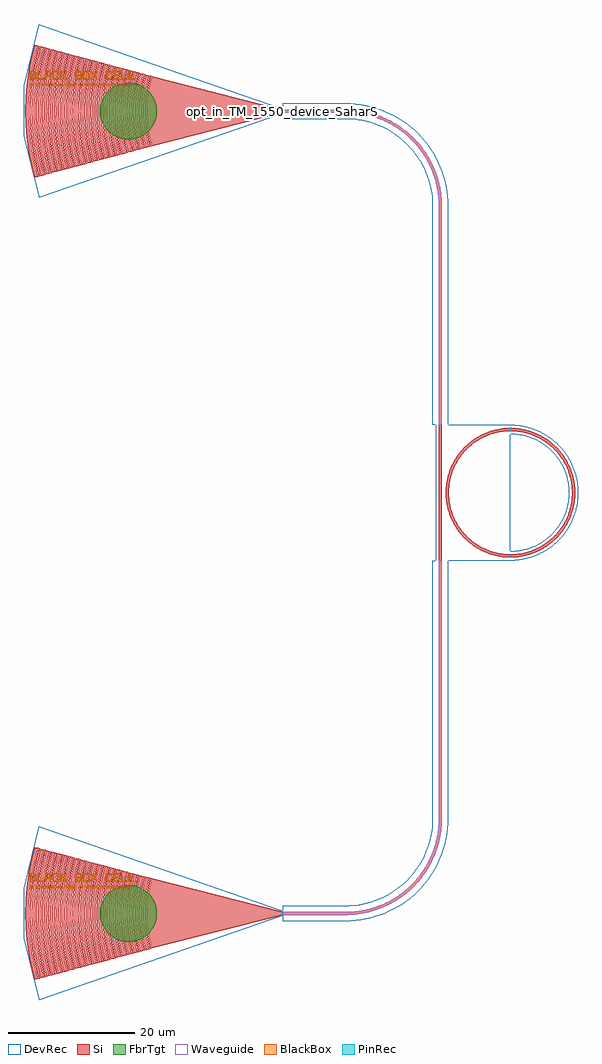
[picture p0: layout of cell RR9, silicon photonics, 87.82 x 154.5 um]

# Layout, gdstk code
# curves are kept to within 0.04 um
from math import pi, radians
import gdstk
lib = gdstk.Library(unit=1e-6, precision=1e-09)
def R(c, l, rs):  # rectangles x0, y0, x1, y1
    for r in rs: c.add(gdstk.rectangle(r[:2], r[2:], *l))
def P(c, l, *ps):  # polygons
    for p in ps: c.add(gdstk.Polygon(p, *l))
Si = (1, 0)
PinRec = (1, 10)
Waveguide = (1, 99)
DevRec = (68, 0)
FbrTgt = (81, 0)
BlackBox = (998, 0)

tm1550_subgc_10degree_ox = lib.new_cell('TM1550_SubGC_10degree_oxide')
P(tm1550_subgc_10degree_ox, Si, [(-20.951,-5.614),(-21.312,-4.239),(-21.572,-2.84),(-21.733,-1.367),(-21.781,-0.057),(-21.733,1.367),(-21.572,2.84),(-21.312,4.239),(-20.951,5.614),(-20.815,5.577),(-21.015,4.871),(-21.223,3.991),(-21.371,3.213),(-21.508,2.261),(-21.611,1.076),(-21.641,0.057),(-21.611,-1.076),(-21.508,-2.261),(-21.371,-3.213),(-21.223,-3.991),(-21.015,-4.871),(-20.815,-5.577)],
  [(-21.624,-5.794),(-22.009,-4.318),(-22.255,-2.989),(-22.416,-1.587),(-22.478,-0.177),(-22.437,1.294),(-22.272,2.873),(-22.009,4.318),(-21.624,5.794),(-21.069,5.645),(-21.621,3.308),(-21.882,0.917),(-21.887,-0.803),(-21.748,-2.459),(-21.481,-4.039),(-21.069,-5.645)],
  [(-21.878,-5.862),(-22.116,-5.004),(-22.279,-4.31),(-22.524,-2.965),(-22.622,-2.198),(-22.691,-1.428),(-22.741,-0.06),(-22.691,1.428),(-22.622,2.198),(-22.524,2.965),(-22.279,4.31),(-22.116,5.004),(-21.878,5.862),(-21.743,5.826),(-21.95,5.088),(-22.154,4.226),(-22.32,3.356),(-22.441,2.537),(-22.563,1.242),(-22.601,0.059),(-22.563,-1.242),(-22.441,-2.537),(-22.32,-3.356),(-22.154,-4.226),(-21.95,-5.088),(-21.743,-5.826)],
  [(-22.552,-6.043),(-22.911,-4.682),(-23.188,-3.238),(-23.378,-1.594),(-23.438,-0.184),(-23.387,1.471),(-23.233,2.935),(-22.951,4.503),(-22.552,6.043),(-21.996,5.894),(-22.56,3.513),(-22.744,2.21),(-22.844,0.898),(-22.849,-0.778),(-22.702,-2.566),(-22.412,-4.275),(-21.996,-5.894)],
  [(-22.805,-6.111),(-23.168,-4.735),(-23.309,-4.068),(-23.457,-3.213),(-23.542,-2.599),(-23.64,-1.612),(-23.686,-0.806),(-23.701,-0.062),(-23.686,0.806),(-23.649,1.488),(-23.493,2.968),(-23.366,3.763),(-23.195,4.614),(-23.006,5.396),(-22.805,6.111),(-22.67,6.074),(-22.885,5.304),(-23.11,4.346),(-23.28,3.438),(-23.395,2.645),(-23.525,1.233),(-23.561,0.062),(-23.525,-1.233),(-23.395,-2.645),(-23.28,-3.438),(-23.11,-4.346),(-22.885,-5.304),(-22.67,-6.074)],
  [(-23.479,-6.291),(-23.893,-4.688),(-24.167,-3.182),(-24.336,-1.659),(-24.398,-0.128),(-24.345,1.532),(-24.167,3.182),(-23.893,4.688),(-23.479,6.291),(-22.923,6.142),(-23.26,4.88),(-23.519,3.599),(-23.706,2.241),(-23.806,0.873),(-23.806,-0.873),(-23.656,-2.674),(-23.368,-4.394),(-22.923,-6.142)],
  [(-23.732,-6.359),(-24.094,-4.99),(-24.266,-4.17),(-24.418,-3.28),(-24.526,-2.448),(-24.598,-1.677),(-24.64,-0.968),(-24.661,-0.065),(-24.645,0.839),(-24.598,1.677),(-24.526,2.448),(-24.418,3.28),(-24.302,3.98),(-24.094,4.99),(-23.732,6.359),(-23.597,6.323),(-23.852,5.397),(-24.04,4.586),(-24.219,3.641),(-24.357,2.689),(-24.484,1.283),(-24.521,0.064),(-24.484,-1.283),(-24.357,-2.689),(-24.219,-3.641),(-24.04,-4.586),(-23.852,-5.397),(-23.597,-6.323)],
  [(-24.406,-6.54),(-24.821,-4.937),(-25.119,-3.307),(-25.308,-1.526),(-25.358,-0.133),(-25.308,1.526),(-25.119,3.307),(-24.821,4.937),(-24.406,6.54),(-23.851,6.391),(-24.214,5.014),(-24.468,3.744),(-24.655,2.396),(-24.765,0.908),(-24.765,-0.908),(-24.61,-2.782),(-24.298,-4.635),(-23.851,-6.391)],
  [(-24.66,-6.608),(-25.064,-5.054),(-25.213,-4.332),(-25.379,-3.341),(-25.481,-2.543),(-25.57,-1.542),(-25.621,-0.067),(-25.57,1.542),(-25.481,2.543),(-25.379,3.341),(-25.213,4.332),(-25.064,5.054),(-24.66,6.608),(-24.525,6.571),(-24.772,5.674),(-24.997,4.701),(-25.19,3.652),(-25.303,2.861),(-25.43,1.533),(-25.481,0.067),(-25.43,-1.533),(-25.303,-2.861),(-25.19,-3.652),(-24.997,-4.701),(-24.772,-5.674),(-24.525,-6.571)],
  [(-25.333,-6.788),(-25.702,-5.393),(-26.04,-3.636),(-26.246,-1.858),(-26.318,-0.138),(-26.266,1.583),(-26.09,3.296),(-25.777,5.057),(-25.333,6.788),(-24.778,6.639),(-25.139,5.275),(-25.439,3.756),(-25.631,2.287),(-25.727,0.876),(-25.727,-0.876),(-25.572,-2.823),(-25.241,-4.815),(-24.778,-6.639)],
  [(-25.587,-6.856),(-25.81,-6.054),(-26.02,-5.176),(-26.172,-4.427),(-26.321,-3.535),(-26.421,-2.777),(-26.508,-1.877),(-26.564,-0.904),(-26.581,-0.07),(-26.569,0.765),(-26.528,1.599),(-26.444,2.57),(-26.341,3.398),(-26.197,4.29),(-26.02,5.176),(-25.81,6.054),(-25.587,6.856),(-25.452,6.82),(-25.708,5.888),(-25.926,4.946),(-26.129,3.858),(-26.257,2.968),(-26.393,1.522),(-26.441,0.069),(-26.393,-1.522),(-26.257,-2.968),(-26.129,-3.858),(-25.926,-4.946),(-25.708,-5.888),(-25.452,-6.82)],
  [(-26.261,-7.037),(-26.704,-5.312),(-27.012,-3.628),(-27.204,-1.926),(-27.278,-0.143),(-27.229,1.57),(-27.052,3.346),(-26.704,5.312),(-26.261,7.037),(-25.705,6.888),(-26.063,5.54),(-26.366,4.034),(-26.566,2.581),(-26.684,0.978),(-26.678,-1.118),(-26.509,-3.067),(-26.184,-4.995),(-25.705,-6.888)],
  [(-26.514,-7.104),(-26.744,-6.273),(-26.946,-5.433),(-27.157,-4.374),(-27.293,-3.52),(-27.471,-1.873),(-27.521,-1.009),(-27.541,-0.072),(-27.491,1.585),(-27.407,2.591),(-27.293,3.52),(-27.157,4.374),(-26.946,5.433),(-26.744,6.273),(-26.514,7.104),(-26.379,7.068),(-26.626,6.172),(-26.869,5.126),(-27.067,4.069),(-27.202,3.147),(-27.351,1.577),(-27.401,0.072),(-27.36,-1.434),(-27.289,-2.363),(-27.202,-3.147),(-27.067,-4.069),(-26.869,-5.126),(-26.626,-6.172),(-26.379,-7.068)],
  [(-27.188,-7.285),(-27.661,-5.427),(-27.974,-3.683),(-28.167,-1.92),(-28.238,-0.148),(-28.192,1.551),(-27.995,3.537),(-27.661,5.427),(-27.188,7.285),(-26.633,7.136),(-27.002,5.739),(-27.315,4.18),(-27.529,2.602),(-27.646,0.941),(-27.637,-1.158),(-27.444,-3.321),(-27.127,-5.175),(-26.633,-7.136)],
  [(-27.442,-7.353),(-27.871,-5.696),(-28.065,-4.747),(-28.213,-3.865),(-28.347,-2.829),(-28.429,-1.938),(-28.483,-0.97),(-28.501,-0.075),(-28.483,0.97),(-28.429,1.938),(-28.355,2.755),(-28.245,3.643),(-28.065,4.747),(-27.903,5.55),(-27.716,6.348),(-27.442,7.353),(-27.306,7.317),(-27.543,6.46),(-27.797,5.378),(-27.992,4.358),(-28.146,3.331),(-28.305,1.706),(-28.361,0.074),(-28.346,-0.891),(-28.305,-1.706),(-28.146,-3.331),(-27.992,-4.358),(-27.797,-5.378),(-27.543,-6.46),(-27.306,-7.317)],
  [(-28.115,-7.533),(-28.587,-5.686),(-28.904,-3.959),(-29.125,-1.986),(-29.198,-0.153),(-29.141,1.757),(-28.937,3.733),(-28.587,5.686),(-28.115,7.533),(-27.56,7.385),(-27.991,5.72),(-28.3,4.103),(-28.507,2.469),(-28.608,0.899),(-28.596,-1.199),(-28.416,-3.288),(-28.07,-5.355),(-27.56,-7.385)],
  [(-28.369,-7.601),(-28.633,-6.637),(-28.828,-5.813),(-28.997,-4.983),(-29.164,-3.995),(-29.285,-3.078),(-29.381,-2.08),(-29.433,-1.234),(-29.461,-0.077),(-29.45,0.771),(-29.403,1.773),(-29.334,2.618),(-29.208,3.69),(-29.079,4.528),(-28.877,5.587),(-28.633,6.637),(-28.369,7.601),(-28.234,7.565),(-28.515,6.531),(-28.755,5.485),(-28.953,4.43),(-29.109,3.368),(-29.268,1.688),(-29.321,0.077),(-29.308,-0.844),(-29.268,-1.688),(-29.128,-3.216),(-28.978,-4.279),(-28.786,-5.335),(-28.552,-6.382),(-28.234,-7.565)],
  [(-29.043,-7.782),(-29.545,-5.796),(-29.878,-3.933),(-30.094,-1.893),(-30.158,-0.158),(-30.094,1.893),(-29.9,3.777),(-29.545,5.796),(-29.043,7.782),(-28.487,7.633),(-28.948,5.837),(-29.25,4.241),(-29.456,2.629),(-29.565,1.007),(-29.562,-1.084),(-29.37,-3.398),(-29.013,-5.534),(-28.487,-7.633)],
  [(-29.296,-7.85),(-29.568,-6.853),(-29.803,-5.847),(-30.014,-4.754),(-30.138,-3.968),(-30.266,-2.941),(-30.356,-1.91),(-30.402,-1.035),(-30.421,-0.08),(-30.402,1.035),(-30.356,1.91),(-30.266,2.941),(-30.138,3.968),(-30.014,4.754),(-29.803,5.847),(-29.568,6.853),(-29.296,7.85),(-29.161,7.814),(-29.451,6.745),(-29.73,5.51),(-29.928,4.419),(-30.082,3.321),(-30.236,1.585),(-30.281,0.079),(-30.236,-1.585),(-30.082,-3.321),(-29.928,-4.419),(-29.73,-5.51),(-29.451,-6.745),(-29.161,-7.814)],
  [(-29.97,-8.03),(-30.453,-6.14),(-30.818,-4.139),(-31.028,-2.279),(-31.118,-0.163),(-31.052,1.954),(-30.841,3.978),(-30.47,6.061),(-29.97,8.03),(-29.415,7.882),(-29.872,6.105),(-30.248,4.063),(-30.448,2.316),(-30.543,0.16),(-30.478,-1.917),(-30.248,-4.063),(-29.872,-6.105),(-29.415,-7.882)],
  [(-30.223,-8.098),(-30.483,-7.15),(-30.745,-6.032),(-30.934,-5.066),(-31.09,-4.093),(-31.23,-2.952),(-31.314,-1.97),(-31.367,-0.904),(-31.381,-0.082),(-31.367,0.904),(-31.314,1.97),(-31.23,2.952),(-31.09,4.093),(-30.934,5.066),(-30.745,6.032),(-30.483,7.15),(-30.223,8.098),(-30.088,8.062),(-30.367,7.039),(-30.641,5.845),(-30.824,4.882),(-31.006,3.67),(-31.107,2.776),(-31.185,1.798),(-31.241,0.082),(-31.227,-0.9),(-31.185,-1.798),(-31.107,-2.776),(-31.006,-3.67),(-30.824,-4.882),(-30.641,-5.845),(-30.367,-7.039),(-30.088,-8.062)],
  [(-30.897,-8.279),(-31.394,-6.33),(-31.757,-4.35),(-31.992,-2.265),(-32.078,-0.168),(-32.01,2.014),(-31.793,4.101),(-31.394,6.33),(-30.897,8.279),(-30.342,8.13),(-30.865,6.055),(-31.223,4.027),(-31.436,1.978),(-31.503,0.165),(-31.436,-1.978),(-31.223,-4.027),(-30.865,-6.055),(-30.342,-8.13)],
  [(-31.151,-8.347),(-31.375,-7.533),(-31.633,-6.465),(-31.836,-5.47),(-32.017,-4.386),(-32.168,-3.211),(-32.26,-2.199),(-32.321,-1.1),(-32.341,-0.085),(-32.324,1.016),(-32.272,2.03),(-32.177,3.127),(-32.065,4.051),(-31.896,5.137),(-31.687,6.217),(-31.459,7.205),(-31.151,8.347),(-31.016,8.311),(-31.302,7.255),(-31.584,6.025),(-31.8,4.866),(-31.97,3.699),(-32.138,1.937),(-32.184,1.011),(-32.201,0.084),(-32.184,-1.011),(-32.138,-1.937),(-31.97,-3.699),(-31.8,-4.866),(-31.584,-6.025),(-31.302,-7.255),(-31.016,-8.311)],
  [(-31.824,-8.527),(-32.335,-6.52),(-32.721,-4.395),(-32.956,-2.247),(-33.038,-0.173),(-32.974,1.988),(-32.757,4.138),(-32.371,6.351),(-31.824,8.527),(-31.269,8.379),(-31.753,6.489),(-32.151,4.318),(-32.376,2.292),(-32.463,0.17),(-32.4,-1.953),(-32.175,-4.15),(-31.807,-6.24),(-31.269,-8.379)],
  [(-32.078,-8.595),(-32.331,-7.672),(-32.592,-6.572),(-32.782,-5.633),(-32.981,-4.43),(-33.123,-3.306),(-33.218,-2.265),(-33.277,-1.22),(-33.301,-0.087),(-33.277,1.22),(-33.218,2.265),(-33.123,3.306),(-32.981,4.43),(-32.782,5.633),(-32.592,6.572),(-32.331,7.672),(-32.078,8.595),(-31.943,8.559),(-32.279,7.304),(-32.527,6.205),(-32.749,5.011),(-32.934,3.723),(-33.043,2.688),(-33.107,1.822),(-33.161,0.087),(-33.149,-0.868),(-33.107,-1.822),(-33.043,-2.688),(-32.934,-3.723),(-32.749,-5.011),(-32.527,-6.205),(-32.279,-7.304),(-31.943,-8.559)],
  [(-32.752,-8.776),(-33.295,-6.623),(-33.685,-4.435),(-33.907,-2.401),(-33.998,-0.178),(-33.92,2.223),(-33.685,4.435),(-33.295,6.623),(-32.752,8.776),(-32.196,8.627),(-32.731,6.511),(-33.115,4.36),(-33.34,2.273),(-33.423,0.175),(-33.358,-2.011),(-33.115,-4.36),(-32.731,-6.511),(-32.196,-8.627)],
  [(-33.005,-8.844),(-33.309,-7.721),(-33.571,-6.586),(-33.776,-5.531),(-33.945,-4.469),(-34.088,-3.312),(-34.182,-2.24),(-34.243,-1.076),(-34.261,-0.09),(-34.243,1.076),(-34.182,2.24),(-34.088,3.312),(-33.945,4.469),(-33.776,5.531),(-33.571,6.586),(-33.309,7.721),(-33.005,8.844),(-32.87,8.808),(-33.194,7.602),(-33.452,6.472),(-33.698,5.156),(-33.866,4.008),(-33.984,2.943),(-34.06,1.964),(-34.106,0.982),(-34.121,0.089),(-34.106,-0.982),(-34.06,-1.964),(-33.984,-2.943),(-33.866,-4.008),(-33.698,-5.156),(-33.452,-6.472),(-33.194,-7.602),(-32.87,-8.808)],
  [(-33.679,-9.024),(-34.217,-6.899),(-34.624,-4.651),(-34.878,-2.286),(-34.958,-0.183),(-34.896,2.012),(-34.662,4.379),(-34.255,6.721),(-33.679,9.024),(-33.124,8.875),(-33.653,6.786),(-34.054,4.574),(-34.291,2.428),(-34.383,0.18),(-34.322,-1.979),(-34.079,-4.396),(-33.691,-6.61),(-33.124,-8.875)],
  [(-33.933,-9.092),(-34.199,-8.116),(-34.494,-6.861),(-34.691,-5.867),(-34.884,-4.685),(-35.053,-3.313),(-35.14,-2.303),(-35.199,-1.198),(-35.221,-0.092),(-35.199,1.198),(-35.14,2.303),(-35.053,3.313),(-34.91,4.503),(-34.755,5.505),(-34.494,6.861),(-34.199,8.116),(-33.933,9.092),(-33.797,9.056),(-34.13,7.817),(-34.413,6.565),(-34.647,5.302),(-34.831,4.03),(-34.957,2.843),(-35.024,1.927),(-35.081,0.092),(-35.068,-0.918),(-35.024,-1.927),(-34.957,-2.843),(-34.831,-4.03),(-34.647,-5.302),(-34.413,-6.565),(-34.13,-7.817),(-33.797,-9.056)],
  [(-34.606,-9.273),(-35.178,-6.997),(-35.575,-4.778),(-35.836,-2.349),(-35.918,-0.188),(-35.86,1.973),(-35.627,4.406),(-35.178,6.997),(-34.606,9.273),(-34.051,9.124),(-34.614,6.885),(-34.992,4.793),(-35.234,2.68),(-35.343,0.185),(-35.286,-1.942),(-35.044,-4.427),(-34.614,-6.885),(-34.051,-9.124)],
  [(-34.86,-9.341),(-35.202,-8.062),(-35.455,-6.956),(-35.687,-5.748),(-35.849,-4.72),(-35.999,-3.498),(-36.098,-2.366),(-36.162,-1.136),(-36.181,-0.095),(-36.162,1.136),(-36.098,2.366),(-35.999,3.498),(-35.849,4.72),(-35.687,5.748),(-35.455,6.956),(-35.202,8.062),(-34.86,9.341),(-34.725,9.304),(-35.043,8.122),(-35.337,6.837),(-35.596,5.447),(-35.773,4.234),(-35.888,3.203),(-35.971,2.169),(-36.022,1.132),(-36.041,0.094),(-36.028,-0.943),(-35.977,-2.074),(-35.888,-3.203),(-35.773,-4.234),(-35.596,-5.447),(-35.337,-6.837),(-35.043,-8.122),(-34.725,-9.304)],
  [(-35.534,-9.521),(-36.099,-7.279),(-36.513,-5.002),(-36.78,-2.604),(-36.878,-0.193),(-36.807,2.219),(-36.567,4.619),(-36.159,6.996),(-35.534,9.521),(-34.978,9.372),(-35.575,6.98),(-35.957,4.83),(-36.199,2.658),(-36.303,0.19),(-36.22,-2.374),(-35.957,-4.83),(-35.575,-6.98),(-34.978,-9.372)],
  [(-35.787,-9.589),(-36.091,-8.465),(-36.377,-7.236),(-36.584,-6.188),(-36.787,-4.941),(-36.923,-3.881),(-37.049,-2.526),(-37.118,-1.264),(-37.141,-0.097),(-37.118,1.264),(-37.056,2.429),(-36.944,3.687),(-36.814,4.749),(-36.635,5.901),(-36.377,7.236),(-36.091,8.465),(-35.787,9.589),(-35.652,9.553),(-35.978,8.339),(-36.299,6.924),(-36.545,5.592),(-36.714,4.443),(-36.825,3.481),(-36.923,2.323),(-36.978,1.259),(-37.001,0.097),(-36.978,-1.259),(-36.923,-2.323),(-36.825,-3.481),(-36.714,-4.443),(-36.545,-5.592),(-36.299,-6.924),(-35.978,-8.339),(-35.652,-9.553)],
  [(-36.461,-9.77),(-37.061,-7.372),(-37.464,-5.132),(-37.73,-2.771),(-37.838,-0.198),(-37.765,2.277),(-37.506,4.838),(-37.061,7.372),(-36.461,9.77),(-35.906,9.621),(-36.497,7.26),(-36.922,4.861),(-37.164,2.631),(-37.263,0.195),(-37.185,-2.339),(-36.922,-4.861),(-36.497,-7.26),(-35.906,-9.621)],
  [(-36.714,-9.838),(-37.001,-8.781),(-37.276,-7.618),(-37.548,-6.25),(-37.724,-5.168),(-37.91,-3.684),(-38.014,-2.492),(-38.081,-1.197),(-38.101,-0.1),(-38.081,1.197),(-38.014,2.492),(-37.91,3.684),(-37.766,4.871),(-37.548,6.25),(-37.339,7.326),(-37.001,8.781),(-36.714,9.838),(-36.579,9.801),(-36.937,8.46),(-37.222,7.201),(-37.461,5.933),(-37.667,4.558),(-37.8,3.374),(-37.881,2.383),(-37.941,1.192),(-37.961,0.099),(-37.95,-0.894),(-37.911,-1.887),(-37.836,-2.978),(-37.692,-4.361),(-37.494,-5.737),(-37.262,-7.007),(-36.937,-8.46),(-36.579,-9.801)],
  [(-37.388,-10.018),(-37.981,-7.658),(-38.444,-5.061),(-38.71,-2.537),(-38.798,-0.203),(-38.71,2.537),(-38.458,4.961),(-38.044,7.361),(-37.388,10.018),(-36.833,9.869),(-37.459,7.349),(-37.874,4.986),(-38.129,2.599),(-38.223,0.2),(-38.143,-2.4),(-37.874,-4.986),(-37.459,-7.349),(-36.833,-9.869)],
  [(-37.642,-10.086),(-37.985,-8.804),(-38.26,-7.61),(-38.513,-6.307),(-38.704,-5.095),(-38.876,-3.675),(-38.957,-2.758),(-39.037,-1.329),(-39.061,-0.102),(-39.037,1.329),(-38.957,2.758),(-38.876,3.675),(-38.704,5.095),(-38.513,6.307),(-38.26,7.61),(-37.985,8.804),(-37.642,10.086),(-37.507,10.05),(-37.873,8.674),(-38.185,7.284),(-38.426,5.983),(-38.633,4.572),(-38.766,3.357),(-38.839,2.444),(-38.897,1.324),(-38.921,0.102),(-38.904,-1.121),(-38.852,-2.24),(-38.766,-3.357),(-38.633,-4.572),(-38.426,-5.983),(-38.185,-7.284),(-37.873,-8.674),(-37.507,-10.05)],
  [(-38.316,-10.267),(-38.944,-7.746),(-39.381,-5.29),(-39.66,-2.704),(-39.758,-0.208),(-39.675,2.496),(-39.41,5.083),(-38.987,7.543),(-38.316,10.267),(-37.76,10.118),(-38.337,7.835),(-38.811,5.213),(-39.079,2.767),(-39.183,0.205),(-39.114,-2.255),(-38.867,-4.807),(-38.422,-7.434),(-37.76,-10.118)],
  [(-38.569,-10.335),(-38.895,-9.123),(-39.223,-7.695),(-39.442,-6.565),(-39.656,-5.221),(-39.821,-3.869),(-39.937,-2.513),(-40,-1.257),(-40.021,-0.105),(-40,1.257),(-39.937,2.513),(-39.821,3.869),(-39.656,5.221),(-39.442,6.565),(-39.223,7.695),(-38.895,9.123),(-38.569,10.335),(-38.434,10.298),(-38.733,9.192),(-39.086,7.668),(-39.34,6.336),(-39.573,4.789),(-39.692,3.752),(-39.804,2.4),(-39.86,1.253),(-39.881,0.104),(-39.86,-1.253),(-39.804,-2.4),(-39.692,-3.752),(-39.573,-4.789),(-39.34,-6.336),(-39.086,-7.668),(-38.733,-9.192),(-38.434,-10.298)],
  [(-39.243,-10.515),(-39.841,-8.142),(-40.317,-5.523),(-40.602,-2.982),(-40.718,-0.213),(-40.64,2.45),(-40.362,5.206),(-39.907,7.83),(-39.243,10.515),(-38.687,10.366),(-39.365,7.616),(-39.792,5.133),(-40.052,2.625),(-40.143,0.21),(-40.066,-2.415),(-39.792,-5.133),(-39.365,-7.616),(-38.687,-10.366)],
  [(-20.697,-5.546),(-21.042,-4.243),(-21.295,-2.917),(-21.449,-1.632),(-21.518,-0.169),(-21.471,1.351),(-21.32,2.75),(-21.067,4.133),(-20.697,5.546),(0,0.25),(0,-0.25)])
tm1550_subgc_10degree_ox.add(gdstk.Label('Ref: Yun Wang, Optics Express, 08/2014', (-39,0), layer=10, texttype=0))
tm1550_subgc_10degree_ox.add(gdstk.Label('http://dx.doi.org/10.1364/OE.22.020652', (-39,-2), layer=10, texttype=0))
tm1550_subgc_10degree_ox.add(gdstk.Label('TM 1550 +10 deg', (-39,2), layer=10, texttype=0))

text_3 = lib.new_cell('TEXT$3')
P(text_3, BlackBox, [(0,0),(0,1.4),(0.8,1.4),(1,1.2),(0.2,1.2),(0.2,0.8),(0.7,0.8),(0.8,0.9),(0.8,1.1),(0.7,1.2),(1,1.2),(1,0.8),(0.9,0.7),(1,0.6),(0.2,0.6),(0.2,0.2),(0.7,0.2),(0.8,0.3),(0.8,0.5),(0.7,0.6),(1,0.6),(1,0.2),(0.8,0)],
  [(1.2,0),(1.2,1.4),(1.4,1.4),(1.4,0.2),(2.2,0.2),(2.2,0)],
  [(2.4,0),(2.4,1.1),(2.7,1.4),(3.1,1.4),(3.3,1.2),(2.8,1.2),(2.6,1),(2.6,0.7),(3.2,0.7),(3.2,1),(3,1.2),(3.3,1.2),(3.4,1.1),(3.4,0),(3.2,0),(3.2,0.5),(2.6,0.5),(2.6,0)],
  [(3.8,0),(3.6,0.2),(3.6,1.2),(3.8,1.4),(4.4,1.4),(4.6,1.2),(4.6,1),(4.4,1),(4.4,1.1),(4.3,1.2),(3.9,1.2),(3.8,1.1),(3.8,0.3),(3.9,0.2),(4.3,0.2),(4.4,0.3),(4.4,0.4),(4.6,0.4),(4.6,0.2),(4.4,0)],
  [(4.8,0),(4.8,1.4),(5,1.4),(5,0.8),(5.2,0.8),(5.6,1.2),(5.6,1.4),(5.8,1.4),(5.8,1.1),(5.4,0.7),(5.8,0.3),(5.8,0),(5.6,0),(5.6,0.2),(5.2,0.6),(5,0.6),(5,0)],
  [(7.2,0),(7.2,1.4),(8,1.4),(8.2,1.2),(7.4,1.2),(7.4,0.8),(7.9,0.8),(8,0.9),(8,1.1),(7.9,1.2),(8.2,1.2),(8.2,0.8),(8.1,0.7),(8.2,0.6),(7.4,0.6),(7.4,0.2),(7.9,0.2),(8,0.3),(8,0.5),(7.9,0.6),(8.2,0.6),(8.2,0.2),(8,0)],
  [(8.6,0),(8.4,0.2),(8.4,1.2),(8.6,1.4),(9.2,1.4),(9.4,1.2),(9.4,0.7),(9.2,0.7),(9.2,1.1),(9.1,1.2),(8.7,1.2),(8.6,1.1),(8.6,0.3),(8.7,0.2),(9.1,0.2),(9.2,0.3),(9.2,0.7),(9.4,0.7),(9.4,0.2),(9.2,0)],
  [(9.6,0),(9.6,0.3),(9.9,0.6),(9.9,0.8),(9.6,1.1),(9.6,1.4),(9.8,1.4),(9.8,1.2),(10.1,0.9),(10.4,1.2),(10.4,1.4),(10.6,1.4),(10.6,1.1),(10.3,0.8),(10.3,0.6),(10.6,0.3),(10.6,0),(10.4,0),(10.4,0.2),(10.1,0.5),(9.8,0.2),(9.8,0)],
  [(12.2,0),(12,0.2),(12,1.2),(12.2,1.4),(12.8,1.4),(13,1.2),(13,1),(12.8,1),(12.8,1.1),(12.7,1.2),(12.3,1.2),(12.2,1.1),(12.2,0.3),(12.3,0.2),(12.7,0.2),(12.8,0.3),(12.8,0.4),(13,0.4),(13,0.2),(12.8,0)],
  [(13.2,0),(13.2,1.4),(14.2,1.4),(14.2,1.2),(13.4,1.2),(13.4,0.8),(13.8,0.8),(13.8,0.6),(13.4,0.6),(13.4,0.2),(14.2,0.2),(14.2,0)],
  [(14.4,0),(14.4,1.4),(14.6,1.4),(14.6,0.2),(15.4,0.2),(15.4,0)],
  [(15.6,0),(15.6,1.4),(15.8,1.4),(15.8,0.2),(16.6,0.2),(16.6,0)])

text_4 = lib.new_cell('TEXT$4')
P(text_4, BlackBox, [(0.1,0),(0.1,0.3),(0,0.3),(0,0.35),(0.25,0.35),(0.25,0.3),(0.15,0.3),(0.15,0)],
  [(0.35,0),(0.3,0.05),(0.3,0.3),(0.35,0.35),(0.5,0.35),(0.55,0.3),(0.55,0.175),(0.5,0.175),(0.5,0.275),(0.475,0.3),(0.375,0.3),(0.35,0.275),(0.35,0.075),(0.375,0.05),(0.475,0.05),(0.5,0.075),(0.5,0.175),(0.55,0.175),(0.55,0.05),(0.5,0)],
  [(0.9,0),(0.9,0.35),(1.1,0.35),(1.15,0.3),(0.95,0.3),(0.95,0.2),(1.075,0.2),(1.1,0.225),(1.1,0.275),(1.075,0.3),(1.15,0.3),(1.15,0.2),(1.125,0.175),(1.15,0.15),(0.95,0.15),(0.95,0.05),(1.075,0.05),(1.1,0.075),(1.1,0.125),(1.075,0.15),(1.15,0.15),(1.15,0.05),(1.1,0)],
  [(1.2,0),(1.2,0.35),(1.45,0.35),(1.45,0.3),(1.25,0.3),(1.25,0.2),(1.35,0.2),(1.35,0.15),(1.25,0.15),(1.25,0.05),(1.45,0.05),(1.45,0)],
  [(1.8,0),(1.8,0.35),(2,0.35),(2.05,0.3),(1.85,0.3),(1.85,0.2),(1.975,0.2),(2,0.225),(2,0.275),(1.975,0.3),(2.05,0.3),(2.05,0.2),(2,0.15),(2,0.125),(2.05,0.075),(2.05,0),(2,0),(2,0.05),(1.9,0.15),(1.85,0.15),(1.85,0)],
  [(2.1,0),(2.1,0.35),(2.35,0.35),(2.35,0.3),(2.15,0.3),(2.15,0.2),(2.25,0.2),(2.25,0.15),(2.15,0.15),(2.15,0.05),(2.35,0.05),(2.35,0)],
  [(2.4,0),(2.4,0.35),(2.6,0.35),(2.65,0.3),(2.65,0.2),(2.6,0.15),(2.45,0.15),(2.45,0.2),(2.575,0.2),(2.6,0.225),(2.6,0.275),(2.575,0.3),(2.45,0.3),(2.45,0)],
  [(2.7,0),(2.7,0.35),(2.75,0.35),(2.75,0.05),(2.95,0.05),(2.95,0)],
  [(3,0),(3,0.275),(3.075,0.35),(3.175,0.35),(3.225,0.3),(3.1,0.3),(3.05,0.25),(3.05,0.175),(3.2,0.175),(3.2,0.25),(3.15,0.3),(3.225,0.3),(3.25,0.275),(3.25,0),(3.2,0),(3.2,0.125),(3.05,0.125),(3.05,0)],
  [(3.35,0),(3.3,0.05),(3.3,0.3),(3.35,0.35),(3.5,0.35),(3.55,0.3),(3.55,0.25),(3.5,0.25),(3.5,0.275),(3.475,0.3),(3.375,0.3),(3.35,0.275),(3.35,0.075),(3.375,0.05),(3.475,0.05),(3.5,0.075),(3.5,0.1),(3.55,0.1),(3.55,0.05),(3.5,0)],
  [(3.6,0),(3.6,0.35),(3.85,0.35),(3.85,0.3),(3.65,0.3),(3.65,0.2),(3.75,0.2),(3.75,0.15),(3.65,0.15),(3.65,0.05),(3.85,0.05),(3.85,0)],
  [(3.9,0),(3.9,0.35),(4.075,0.35),(4.125,0.3),(3.95,0.3),(3.95,0.05),(4.05,0.05),(4.1,0.1),(4.1,0.25),(4.05,0.3),(4.125,0.3),(4.15,0.275),(4.15,0.075),(4.075,0)],
  [(4.5,0),(4.5,0.35),(4.7,0.35),(4.75,0.3),(4.55,0.3),(4.55,0.2),(4.675,0.2),(4.7,0.225),(4.7,0.275),(4.675,0.3),(4.75,0.3),(4.75,0.2),(4.725,0.175),(4.75,0.15),(4.55,0.15),(4.55,0.05),(4.675,0.05),(4.7,0.075),(4.7,0.125),(4.675,0.15),(4.75,0.15),(4.75,0.05),(4.7,0)],
  [(4.9,0),(4.9,0.175),(4.8,0.275),(4.8,0.35),(4.85,0.35),(4.85,0.3),(4.925,0.225),(5,0.3),(5,0.35),(5.05,0.35),(5.05,0.275),(4.95,0.175),(4.95,0)],
  [(5.4,0),(5.4,0.35),(5.65,0.35),(5.65,0.3),(5.45,0.3),(5.45,0.2),(5.55,0.2),(5.55,0.15),(5.45,0.15),(5.45,0)],
  [(5.75,0),(5.7,0.05),(5.7,0.3),(5.75,0.35),(5.9,0.35),(5.95,0.3),(5.95,0.175),(5.9,0.175),(5.9,0.275),(5.875,0.3),(5.775,0.3),(5.75,0.275),(5.75,0.075),(5.775,0.05),(5.875,0.05),(5.9,0.075),(5.9,0.175),(5.95,0.175),(5.95,0.05),(5.9,0)],
  [(6.05,0),(6,0.05),(6,0.35),(6.05,0.35),(6.05,0.075),(6.075,0.05),(6.175,0.05),(6.2,0.075),(6.2,0.35),(6.25,0.35),(6.25,0.05),(6.2,0)],
  [(6.3,0),(6.3,0.35),(6.35,0.35),(6.475,0.225),(6.5,0.225),(6.5,0.35),(6.55,0.35),(6.55,0),(6.5,0),(6.5,0.125),(6.375,0.25),(6.35,0.25),(6.35,0)],
  [(6.6,0),(6.6,0.35),(6.775,0.35),(6.825,0.3),(6.65,0.3),(6.65,0.05),(6.75,0.05),(6.8,0.1),(6.8,0.25),(6.75,0.3),(6.825,0.3),(6.85,0.275),(6.85,0.075),(6.775,0)],
  [(6.9,0),(6.9,0.35),(7.1,0.35),(7.15,0.3),(6.95,0.3),(6.95,0.2),(7.075,0.2),(7.1,0.225),(7.1,0.275),(7.075,0.3),(7.15,0.3),(7.15,0.2),(7.1,0.15),(7.1,0.125),(7.15,0.075),(7.15,0),(7.1,0),(7.1,0.05),(7,0.15),(6.95,0.15),(6.95,0)],
  [(7.3,0),(7.3,0.175),(7.2,0.275),(7.2,0.35),(7.25,0.35),(7.25,0.3),(7.325,0.225),(7.4,0.3),(7.4,0.35),(7.45,0.35),(7.45,0.275),(7.35,0.175),(7.35,0)],
  [(7.9,0),(7.9,0.3),(7.8,0.3),(7.8,0.35),(8.05,0.35),(8.05,0.3),(7.95,0.3),(7.95,0)],
  [(8.15,0),(8.1,0.05),(8.1,0.3),(8.15,0.35),(8.3,0.35),(8.35,0.3),(8.35,0.175),(8.3,0.175),(8.3,0.275),(8.275,0.3),(8.175,0.3),(8.15,0.275),(8.15,0.075),(8.175,0.05),(8.275,0.05),(8.3,0.075),(8.3,0.175),(8.35,0.175),(8.35,0.05),(8.3,0)],
  [(8.7,0),(8.7,0.275),(8.775,0.35),(8.875,0.35),(8.925,0.3),(8.8,0.3),(8.75,0.25),(8.75,0.175),(8.9,0.175),(8.9,0.25),(8.85,0.3),(8.925,0.3),(8.95,0.275),(8.95,0),(8.9,0),(8.9,0.125),(8.75,0.125),(8.75,0)],
  [(9.05,0),(9,0.05),(9,0.3),(9.05,0.35),(9.2,0.35),(9.25,0.3),(9.25,0.25),(9.2,0.25),(9.2,0.275),(9.175,0.3),(9.075,0.3),(9.05,0.275),(9.05,0.075),(9.075,0.05),(9.175,0.05),(9.2,0.075),(9.2,0.1),(9.25,0.1),(9.25,0.05),(9.2,0)],
  [(9.35,0),(9.3,0.05),(9.3,0.3),(9.35,0.35),(9.5,0.35),(9.55,0.3),(9.55,0.25),(9.5,0.25),(9.5,0.275),(9.475,0.3),(9.375,0.3),(9.35,0.275),(9.35,0.075),(9.375,0.05),(9.475,0.05),(9.5,0.075),(9.5,0.1),(9.55,0.1),(9.55,0.05),(9.5,0)],
  [(9.65,0),(9.6,0.05),(9.6,0.3),(9.65,0.35),(9.8,0.35),(9.85,0.3),(9.85,0.175),(9.8,0.175),(9.8,0.275),(9.775,0.3),(9.675,0.3),(9.65,0.275),(9.65,0.075),(9.675,0.05),(9.775,0.05),(9.8,0.075),(9.8,0.175),(9.85,0.175),(9.85,0.05),(9.8,0)],
  [(9.95,0),(9.9,0.05),(9.9,0.35),(9.95,0.35),(9.95,0.075),(9.975,0.05),(10.075,0.05),(10.1,0.075),(10.1,0.35),(10.15,0.35),(10.15,0.05),(10.1,0)],
  [(10.2,0),(10.2,0.35),(10.25,0.35),(10.375,0.225),(10.4,0.225),(10.4,0.35),(10.45,0.35),(10.45,0),(10.4,0),(10.4,0.125),(10.275,0.25),(10.25,0.25),(10.25,0)],
  [(10.6,0),(10.6,0.3),(10.5,0.3),(10.5,0.35),(10.75,0.35),(10.75,0.3),(10.65,0.3),(10.65,0)],
  [(11.1,0),(11.1,0.35),(11.35,0.35),(11.35,0.3),(11.15,0.3),(11.15,0.2),(11.25,0.2),(11.25,0.15),(11.15,0.15),(11.15,0)],
  [(11.45,0),(11.4,0.05),(11.4,0.3),(11.45,0.35),(11.6,0.35),(11.65,0.3),(11.65,0.175),(11.6,0.175),(11.6,0.275),(11.575,0.3),(11.475,0.3),(11.45,0.275),(11.45,0.075),(11.475,0.05),(11.575,0.05),(11.6,0.075),(11.6,0.175),(11.65,0.175),(11.65,0.05),(11.6,0)],
  [(11.7,0),(11.7,0.35),(11.9,0.35),(11.95,0.3),(11.75,0.3),(11.75,0.2),(11.875,0.2),(11.9,0.225),(11.9,0.275),(11.875,0.3),(11.95,0.3),(11.95,0.2),(11.9,0.15),(11.9,0.125),(11.95,0.075),(11.95,0),(11.9,0),(11.9,0.05),(11.8,0.15),(11.75,0.15),(11.75,0)],
  [(12.3,0),(12.3,0.35),(12.5,0.35),(12.55,0.3),(12.55,0.2),(12.5,0.15),(12.35,0.15),(12.35,0.2),(12.475,0.2),(12.5,0.225),(12.5,0.275),(12.475,0.3),(12.35,0.3),(12.35,0)],
  [(12.6,0),(12.6,0.35),(12.8,0.35),(12.85,0.3),(12.65,0.3),(12.65,0.2),(12.775,0.2),(12.8,0.225),(12.8,0.275),(12.775,0.3),(12.85,0.3),(12.85,0.2),(12.8,0.15),(12.8,0.125),(12.85,0.075),(12.85,0),(12.8,0),(12.8,0.05),(12.7,0.15),(12.65,0.15),(12.65,0)],
  [(12.95,0),(12.9,0.05),(12.9,0.3),(12.95,0.35),(13.1,0.35),(13.15,0.3),(13.15,0.175),(13.1,0.175),(13.1,0.275),(13.075,0.3),(12.975,0.3),(12.95,0.275),(12.95,0.075),(12.975,0.05),(13.075,0.05),(13.1,0.075),(13.1,0.175),(13.15,0.175),(13.15,0.05),(13.1,0)],
  [(13.25,0),(13.2,0.05),(13.2,0.3),(13.25,0.35),(13.4,0.35),(13.45,0.3),(13.45,0.25),(13.4,0.25),(13.4,0.275),(13.375,0.3),(13.275,0.3),(13.25,0.275),(13.25,0.075),(13.275,0.05),(13.375,0.05),(13.4,0.075),(13.4,0.1),(13.45,0.1),(13.45,0.05),(13.4,0)],
  [(13.5,0),(13.5,0.35),(13.75,0.35),(13.75,0.3),(13.55,0.3),(13.55,0.2),(13.65,0.2),(13.65,0.15),(13.55,0.15),(13.55,0.05),(13.75,0.05),(13.75,0)],
  [(13.85,0),(13.8,0.05),(13.8,0.1),(13.85,0.1),(13.85,0.075),(13.875,0.05),(13.975,0.05),(14,0.075),(14,0.125),(13.975,0.15),(13.85,0.15),(13.8,0.2),(13.8,0.3),(13.85,0.35),(14,0.35),(14.05,0.3),(14.05,0.25),(14,0.25),(14,0.275),(13.975,0.3),(13.875,0.3),(13.85,0.275),(13.85,0.225),(13.875,0.2),(14,0.2),(14.05,0.15),(14.05,0.05),(14,0)],
  [(14.15,0),(14.1,0.05),(14.1,0.1),(14.15,0.1),(14.15,0.075),(14.175,0.05),(14.275,0.05),(14.3,0.075),(14.3,0.125),(14.275,0.15),(14.15,0.15),(14.1,0.2),(14.1,0.3),(14.15,0.35),(14.3,0.35),(14.35,0.3),(14.35,0.25),(14.3,0.25),(14.3,0.275),(14.275,0.3),(14.175,0.3),(14.15,0.275),(14.15,0.225),(14.175,0.2),(14.3,0.2),(14.35,0.15),(14.35,0.05),(14.3,0)],
  [(14.7,0),(14.7,0.35),(14.9,0.35),(14.95,0.3),(14.75,0.3),(14.75,0.2),(14.875,0.2),(14.9,0.225),(14.9,0.275),(14.875,0.3),(14.95,0.3),(14.95,0.2),(14.925,0.175),(14.95,0.15),(14.75,0.15),(14.75,0.05),(14.875,0.05),(14.9,0.075),(14.9,0.125),(14.875,0.15),(14.95,0.15),(14.95,0.05),(14.9,0)],
  [(15.075,0),(15.075,0.05),(15.1,0.05),(15.1,0.3),(15.075,0.3),(15.075,0.35),(15.175,0.35),(15.175,0.3),(15.15,0.3),(15.15,0.05),(15.175,0.05),(15.175,0)],
  [(15.3,0),(15.3,0.275),(15.375,0.35),(15.475,0.35),(15.525,0.3),(15.4,0.3),(15.35,0.25),(15.35,0.175),(15.5,0.175),(15.5,0.25),(15.45,0.3),(15.525,0.3),(15.55,0.275),(15.55,0),(15.5,0),(15.5,0.125),(15.35,0.125),(15.35,0)],
  [(15.65,0),(15.6,0.05),(15.6,0.1),(15.65,0.1),(15.65,0.075),(15.675,0.05),(15.775,0.05),(15.8,0.075),(15.8,0.125),(15.775,0.15),(15.65,0.15),(15.6,0.2),(15.6,0.3),(15.65,0.35),(15.8,0.35),(15.85,0.3),(15.85,0.25),(15.8,0.25),(15.8,0.275),(15.775,0.3),(15.675,0.3),(15.65,0.275),(15.65,0.225),(15.675,0.2),(15.8,0.2),(15.85,0.15),(15.85,0.05),(15.8,0)])

ebeam_gc_tm1550 = lib.new_cell('ebeam_gc_tm1550')
R(ebeam_gc_tm1550, Si, [(-0.001,-0.001,0.001,0.001)])
P(ebeam_gc_tm1550, DevRec, [(-38.5,-13.7),(-41,-4),(-41,4),(-38.6,13.8),(0,0.4),(0,-0.4)])
P(ebeam_gc_tm1550, FbrTgt, [(-24.621,-4.5),(-25.495,-4.37),(-26.326,-4.073),(-27.084,-3.619),(-27.738,-3.026),(-28.264,-2.316),(-28.642,-1.518),(-28.857,-0.661),(-28.9,0.221),(-28.77,1.095),(-28.473,1.926),(-28.019,2.684),(-27.426,3.338),(-26.716,3.864),(-25.918,4.242),(-25.061,4.457),(-24.179,4.5),(-23.305,4.37),(-22.474,4.073),(-21.716,3.619),(-21.062,3.026),(-20.536,2.316),(-20.158,1.518),(-19.943,0.661),(-19.9,-0.221),(-20.03,-1.095),(-20.327,-1.926),(-20.781,-2.684),(-21.374,-3.338),(-22.084,-3.864),(-22.882,-4.242),(-23.739,-4.457)])
ebeam_gc_tm1550.add(gdstk.FlexPath([(-0.05,0),(0.05,0)], 0.5, ends="flush", simple_path=True, layer=1, datatype=10))  # PinRec
ebeam_gc_tm1550.add(gdstk.Reference(tm1550_subgc_10degree_ox, (0,0)))
ebeam_gc_tm1550.add(gdstk.Reference(text_3, (-40,5)))
ebeam_gc_tm1550.add(gdstk.Reference(text_4, (-40,4)))
ebeam_gc_tm1550.add(gdstk.Label('opt1', (0,0), layer=1, texttype=10))
ebeam_gc_tm1550.add(gdstk.Label('Component=ebeam_gc_tm1550', (-35,-5), layer=68, texttype=0))
ebeam_gc_tm1550.add(gdstk.Label('Lumerical_INTERCONNECT_library=Design kits/ebeam', (-38,-6), layer=68, texttype=0))

ebeam_dc_halfring_straig = lib.new_cell('ebeam_dc_halfring_straight$8')
R(ebeam_dc_halfring_straig, Si, [(-10.75,-0.25,10.75,0.25)])
P(ebeam_dc_halfring_straig, Si, [(0,0.85),(-1.03,0.902),(-2.05,1.057),(-3.049,1.314),(-4.018,1.67),(-4.945,2.122),(-5.823,2.664),(-6.483,3.16),(-7.248,3.852),(-7.94,4.617),(-8.436,5.277),(-8.978,6.155),(-9.43,7.082),(-9.786,8.051),(-10.043,9.05),(-10.198,10.07),(-10.25,11.1),(-9.75,11.1),(-9.679,9.925),(-9.467,8.767),(-9.184,7.827),(-8.723,6.744),(-7.795,5.243),(-6.754,4.068),(-6.013,3.425),(-5.211,2.859),(-3.64,2.055),(-2.901,1.791),(-1.95,1.547),(-0.98,1.399),(0,1.35),(0.98,1.399),(1.95,1.547),(2.901,1.791),(3.64,2.055),(5.211,2.859),(6.013,3.425),(6.754,4.068),(7.795,5.243),(8.723,6.744),(9.184,7.827),(9.467,8.767),(9.679,9.925),(9.75,11.1),(10.25,11.1),(10.198,10.07),(10.043,9.05),(9.786,8.051),(9.43,7.082),(8.978,6.155),(8.436,5.277),(7.94,4.617),(7.248,3.852),(6.483,3.16),(5.823,2.664),(4.945,2.122),(4.018,1.67),(3.049,1.314),(2.05,1.057),(1.03,0.902)])
R(ebeam_dc_halfring_straig, DevRec, [(-10.75,-0.75,10.75,11.1)])
ebeam_dc_halfring_straig.add(gdstk.FlexPath([(-10,11.09),(-10,11.11)], 0.5, ends="flush", simple_path=True, layer=1, datatype=10))  # PinRec
ebeam_dc_halfring_straig.add(gdstk.FlexPath([(10,11.09),(10,11.11)], 0.5, ends="flush", simple_path=True, layer=1, datatype=10))  # PinRec
ebeam_dc_halfring_straig.add(gdstk.FlexPath([(-10.74,0),(-10.76,0)], 0.5, ends="flush", simple_path=True, layer=1, datatype=10))  # PinRec
ebeam_dc_halfring_straig.add(gdstk.FlexPath([(10.74,0),(10.76,0)], 0.5, ends="flush", simple_path=True, layer=1, datatype=10))  # PinRec
ebeam_dc_halfring_straig.add(gdstk.Label('pin2', (-10,11.1), layer=1, texttype=10))
ebeam_dc_halfring_straig.add(gdstk.Label('pin4', (10,11.1), layer=1, texttype=10))
ebeam_dc_halfring_straig.add(gdstk.Label('pin1', (-10.75,0), layer=1, texttype=10))
ebeam_dc_halfring_straig.add(gdstk.Label('pin3', (10.75,0), layer=1, texttype=10))
ebeam_dc_halfring_straig.add(gdstk.Label('Lumerical_INTERCONNECT_library=Design kits/ebeam', (-10,0), layer=68, texttype=0))
ebeam_dc_halfring_straig.add(gdstk.Label('Component=ebeam_dc_halfring_straight', (-10,2.5), layer=68, texttype=0))
ebeam_dc_halfring_straig.add(gdstk.Label('Spice_param:wg_width=5e-07 gap=6e-07 radius=1e-05 Lc=0 orthogonal_identifier=2', (-10,5), layer=68, texttype=0))

waveguide_bend_4 = lib.new_cell('Waveguide_Bend$4')
P(waveguide_bend_4, Si, [(-10,-0.25),(-10,0.25),(-8.825,0.321),(-7.858,0.488),(-6.912,0.752),(-5.82,1.191),(-4.461,1.976),(-3.106,3.106),(-1.976,4.461),(-1.191,5.82),(-0.752,6.912),(-0.488,7.858),(-0.321,8.825),(-0.25,10),(0.25,10),(0.198,8.97),(0.043,7.95),(-0.214,6.951),(-0.57,5.982),(-1.022,5.054),(-1.448,4.348),(-2.06,3.518),(-2.752,2.752),(-3.518,2.06),(-4.348,1.448),(-5.054,1.022),(-5.982,0.57),(-6.951,0.214),(-7.95,-0.043),(-8.97,-0.198)])
P(waveguide_bend_4, DevRec, [(-10,-0.75),(-10,0.75),(-9.071,0.797),(-8.149,0.937),(-6.545,1.419),(-5.701,1.809),(-4.899,2.283),(-4.151,2.835),(-3.459,3.459),(-2.835,4.151),(-2.283,4.899),(-1.809,5.701),(-1.419,6.545),(-0.937,8.149),(-0.797,9.071),(-0.75,10),(0.75,10),(0.695,8.919),(0.533,7.851),(0.263,6.802),(-0.11,5.785),(-0.585,4.812),(-1.153,3.892),(-1.673,3.201),(-2.399,2.399),(-3.201,1.673),(-3.892,1.153),(-4.812,0.585),(-5.785,0.11),(-6.802,-0.263),(-7.851,-0.533),(-8.919,-0.695)])
waveguide_bend_4.add(gdstk.FlexPath([(0,9.99),(0,10.01)], 0.5, ends="flush", simple_path=True, layer=1, datatype=10))  # PinRec
waveguide_bend_4.add(gdstk.FlexPath([(-9.99,0),(-10.01,0)], 0.5, ends="flush", simple_path=True, layer=1, datatype=10))  # PinRec
waveguide_bend_4.add(gdstk.Label('pin2', (0,10), layer=1, texttype=10))
waveguide_bend_4.add(gdstk.Label('pin1', (-10,0), layer=1, texttype=10))
waveguide_bend_4.add(gdstk.Label('Lumerical_INTERCONNECT_library=Design kits/EBeam', (-9,0), layer=68, texttype=0))
waveguide_bend_4.add(gdstk.Label('Component=ebeam_bend_1550', (-9,2.5), layer=68, texttype=0))
waveguide_bend_4.add(gdstk.Label('Spice_param:radius=10.000u wg_width=0.500u', (-9,5), layer=68, texttype=0))

waveguide_28 = lib.new_cell('Waveguide$28')
P(waveguide_28, Si, [(26.81,-63.45),(26.802,-28.317),(26.651,-26.636),(26.367,-25.216),(25.865,-23.604),(25.289,-22.276),(24.586,-21.011),(23.762,-19.821),(22.825,-18.717),(21.965,-17.871),(21.039,-17.098),(19.849,-16.274),(18.584,-15.571),(17.256,-14.995),(15.409,-14.435),(13.506,-14.121),(12.06,-14.05),(2.09,-14.05),(2.09,-13.55),(12.808,-13.568),(14.051,-13.68),(15.035,-13.843),(16.007,-14.07),(17.197,-14.442),(18.58,-15.014),(19.9,-15.719),(20.943,-16.404),(22.115,-17.334),(23.191,-18.375),(24.158,-19.517),(25.01,-20.747),(25.737,-22.056),(26.333,-23.428),(26.853,-25.094),(27.18,-26.809),(27.302,-28.301),(27.31,-63.45)])
P(waveguide_28, Waveguide, [(26.81,-63.45),(26.802,-28.317),(26.651,-26.636),(26.367,-25.216),(25.865,-23.604),(25.289,-22.276),(24.586,-21.011),(23.762,-19.821),(22.825,-18.717),(21.965,-17.871),(21.039,-17.098),(19.849,-16.274),(18.584,-15.571),(17.256,-14.995),(15.409,-14.435),(13.506,-14.121),(12.06,-14.05),(2.09,-14.05),(2.09,-13.55),(12.808,-13.568),(14.051,-13.68),(15.035,-13.843),(16.007,-14.07),(17.197,-14.442),(18.58,-15.014),(19.9,-15.719),(20.943,-16.404),(22.115,-17.334),(23.191,-18.375),(24.158,-19.517),(25.01,-20.747),(25.737,-22.056),(26.333,-23.428),(26.853,-25.094),(27.18,-26.809),(27.302,-28.301),(27.31,-63.45)])
P(waveguide_28, DevRec, [(25.81,-63.45),(25.793,-28.125),(25.662,-26.782),(25.398,-25.459),(25.006,-24.168),(24.49,-22.921),(23.493,-21.161),(22.689,-20.077),(21.783,-19.077),(20.783,-18.171),(19.699,-17.367),(17.939,-16.37),(16.692,-15.854),(15.401,-15.462),(13.408,-15.116),(12.058,-15.05),(2.09,-15.05),(2.09,-12.55),(12.857,-12.569),(15.23,-12.862),(17.534,-13.5),(19.007,-14.11),(20.415,-14.862),(21.74,-15.748),(22.972,-16.759),(24.101,-17.888),(25.112,-19.12),(25.998,-20.445),(26.75,-21.853),(27.36,-23.326),(27.822,-24.851),(28.134,-26.416),(28.291,-28.003),(28.31,-63.45)])
waveguide_28.add(gdstk.FlexPath([(2.1,-13.8),(2.08,-13.8)], 0.5, ends="flush", simple_path=True, layer=1, datatype=10))  # PinRec
waveguide_28.add(gdstk.FlexPath([(27.06,-63.44),(27.06,-63.46)], 0.5, ends="flush", simple_path=True, layer=1, datatype=10))  # PinRec
waveguide_28.add(gdstk.Label('opt1', (2.09,-13.8), layer=1, texttype=10))
waveguide_28.add(gdstk.Label('opt2', (27.06,-63.45), layer=1, texttype=10))
waveguide_28.add(gdstk.Label('Lumerical_INTERCONNECT_library=Design kits/EBeam', (2.09,-13.9), layer=68, texttype=0))
waveguide_28.add(gdstk.Label('Component=ebeam_wg_integral_1550', (2.09,-13.7), layer=68, texttype=0))
waveguide_28.add(gdstk.Label('cellName=Waveguide', (2.09,-13.6), layer=68, texttype=0))
waveguide_28.add(gdstk.Label('Spice_param:wg_length=0.000068177 wg_width=5e-07 points="[[2.09,-13.8],[27.06,-13.8],[27.06,-63.45]]" radius=1.5e-05', (2.09,-13.8), layer=68, texttype=0))
waveguide_28.add(gdstk.Label('Length=68.177 (microns)', (2.09,-14.4), layer=68, texttype=0))
waveguide_28.add(gdstk.Label('waveguide_type=Strip TM 1550 nm, w=500 nm', (2.09,-14), layer=68, texttype=0))

waveguide_29 = lib.new_cell('Waveguide$29')
P(waveguide_29, Si, [(2.09,-141.05),(2.09,-140.55),(12.06,-140.55),(13.506,-140.479),(15.409,-140.165),(17.481,-139.518),(18.8,-138.921),(20.053,-138.197),(21.23,-137.353),(22.318,-136.399),(23.15,-135.525),(24.05,-134.391),(24.833,-133.175),(25.495,-131.888),(26.027,-130.541),(26.425,-129.149),(26.684,-127.725),(26.802,-126.283),(26.81,-84.95),(27.31,-84.95),(27.302,-126.299),(27.18,-127.791),(26.911,-129.263),(26.501,-130.703),(25.951,-132.094),(25.267,-133.425),(24.456,-134.683),(23.526,-135.855),(22.485,-136.931),(21.343,-137.898),(20.113,-138.75),(18.804,-139.477),(17.432,-140.073),(16.486,-140.393),(15.28,-140.706),(14.051,-140.92),(13.057,-141.017)])
P(waveguide_29, Waveguide, [(2.09,-141.05),(2.09,-140.55),(12.06,-140.55),(13.506,-140.479),(15.409,-140.165),(17.481,-139.518),(18.8,-138.921),(20.053,-138.197),(21.23,-137.353),(22.318,-136.399),(23.15,-135.525),(24.05,-134.391),(24.833,-133.175),(25.495,-131.888),(26.027,-130.541),(26.425,-129.149),(26.684,-127.725),(26.802,-126.283),(26.81,-84.95),(27.31,-84.95),(27.302,-126.299),(27.18,-127.791),(26.911,-129.263),(26.501,-130.703),(25.951,-132.094),(25.267,-133.425),(24.456,-134.683),(23.526,-135.855),(22.485,-136.931),(21.343,-137.898),(20.113,-138.75),(18.804,-139.477),(17.432,-140.073),(16.486,-140.393),(15.28,-140.706),(14.051,-140.92),(13.057,-141.017)])
P(waveguide_29, DevRec, [(2.09,-142.05),(2.09,-139.55),(12.058,-139.55),(13.408,-139.484),(15.401,-139.138),(16.692,-138.746),(17.939,-138.23),(19.699,-137.233),(20.783,-136.429),(21.783,-135.523),(22.689,-134.523),(23.493,-133.439),(24.49,-131.679),(25.006,-130.432),(25.398,-129.141),(25.662,-127.818),(25.793,-126.475),(25.81,-84.95),(28.31,-84.95),(28.291,-126.597),(28.134,-128.184),(27.822,-129.749),(27.36,-131.274),(26.75,-132.747),(25.998,-134.155),(25.112,-135.48),(24.101,-136.712),(22.972,-137.841),(21.74,-138.852),(20.415,-139.738),(19.007,-140.49),(17.534,-141.1),(15.23,-141.738),(12.857,-142.031)])
waveguide_29.add(gdstk.FlexPath([(27.06,-84.96),(27.06,-84.94)], 0.5, ends="flush", simple_path=True, layer=1, datatype=10))  # PinRec
waveguide_29.add(gdstk.FlexPath([(2.1,-140.8),(2.08,-140.8)], 0.5, ends="flush", simple_path=True, layer=1, datatype=10))  # PinRec
waveguide_29.add(gdstk.Label('opt1', (27.06,-84.95), layer=1, texttype=10))
waveguide_29.add(gdstk.Label('opt2', (2.09,-140.8), layer=1, texttype=10))
waveguide_29.add(gdstk.Label('Lumerical_INTERCONNECT_library=Design kits/EBeam', (26.96,-84.95), layer=68, texttype=0))
waveguide_29.add(gdstk.Label('Component=ebeam_wg_integral_1550', (27.16,-84.95), layer=68, texttype=0))
waveguide_29.add(gdstk.Label('cellName=Waveguide', (27.26,-84.95), layer=68, texttype=0))
waveguide_29.add(gdstk.Label('Spice_param:wg_length=0.000074377 wg_width=5e-07 points="[[27.06,-84.95],[27.06,-140.8],[2.09,-140.8]]" radius=1.5e-05', (27.06,-84.95), layer=68, texttype=0))
waveguide_29.add(gdstk.Label('Length=74.377 (microns)', (26.46,-84.95), layer=68, texttype=0))
waveguide_29.add(gdstk.Label('waveguide_type=Strip TM 1550 nm, w=500 nm', (26.86,-84.95), layer=68, texttype=0))

rr9 = lib.new_cell('RR9')
r = gdstk.Reference(ebeam_gc_tm1550, (2.09,-140.8)); r.repetition = gdstk.Repetition(1, 2, v1=(0,0), v2=(0,127)); rr9.add(r)
rr9.add(gdstk.Reference(ebeam_dc_halfring_straig, (27.06,-74.2), rotation=3*pi/2))
rr9.add(gdstk.Reference(waveguide_bend_4, (48.16,-84.2)))
rr9.add(gdstk.Reference(waveguide_bend_4, (48.16,-64.2), rotation=pi/2))
rr9.add(gdstk.Reference(waveguide_28, (0,0)))
rr9.add(gdstk.Reference(waveguide_29, (0,0)))
rr9.add(gdstk.Label('opt_in_TM_1550_device_SaharS_RR9', (2.1,-13.8), layer=10, texttype=0))

lib.write_gds('RR9.gds')
